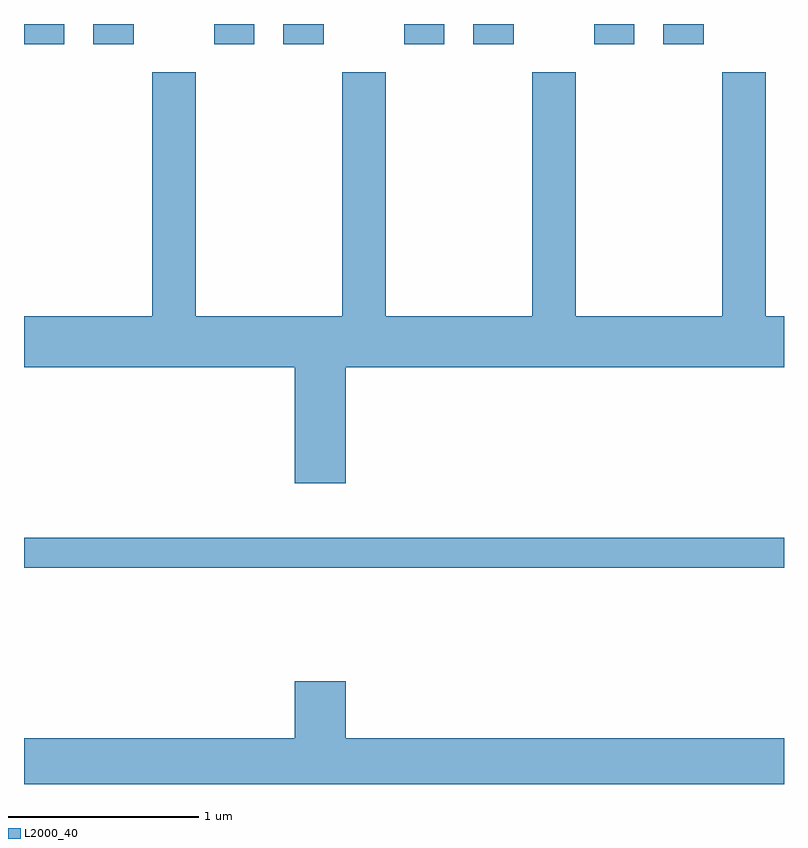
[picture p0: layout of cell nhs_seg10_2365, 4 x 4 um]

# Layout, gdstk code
import gdstk
lib = gdstk.Library(unit=1e-6, precision=1e-09)
def R(c, l, rs):  # rectangles x0, y0, x1, y1
    for r in rs: c.add(gdstk.rectangle(r[:2], r[2:], *l))
def P(c, l, *ps):  # polygons
    for p in ps: c.add(gdstk.Polygon(p, *l))
L2000_40 = (2000, 40)

nhs_seg10_2365 = lib.new_cell('nhs_seg10_2365')
R(nhs_seg10_2365, L2000_40, [(253.611,2201.661,257.611,2201.819), (253.611,2204.416,253.824,2204.522), (253.976,2204.416,254.189,2204.522), (254.611,2204.416,254.824,2204.522), (254.976,2204.416,255.189,2204.522), (255.611,2204.416,255.824,2204.522), (255.976,2204.416,256.189,2204.522), (256.611,2204.416,256.824,2204.522), (256.976,2204.416,257.189,2204.522)])
P(nhs_seg10_2365, L2000_40, [(257.286,2204.269),(257.286,2202.984),(256.514,2202.984),(256.514,2204.269),(256.286,2204.269),(256.286,2202.984),(255.514,2202.984),(255.514,2204.269),(255.286,2204.269),(255.286,2202.984),(254.514,2202.984),(254.514,2204.269),(254.286,2204.269),(254.286,2202.984),(253.611,2202.984),(253.611,2202.716),(255.036,2202.716),(255.036,2202.106),(255.304,2202.106),(255.304,2202.716),(257.611,2202.716),(257.611,2202.984),(257.514,2202.984),(257.514,2204.269)],
  [(257.611,2200.764),(255.304,2200.764),(255.304,2201.064),(255.036,2201.064),(255.036,2200.764),(253.611,2200.764),(253.611,2200.522),(257.611,2200.522)])

lib.write_gds('nhs_seg10_2365.gds')
